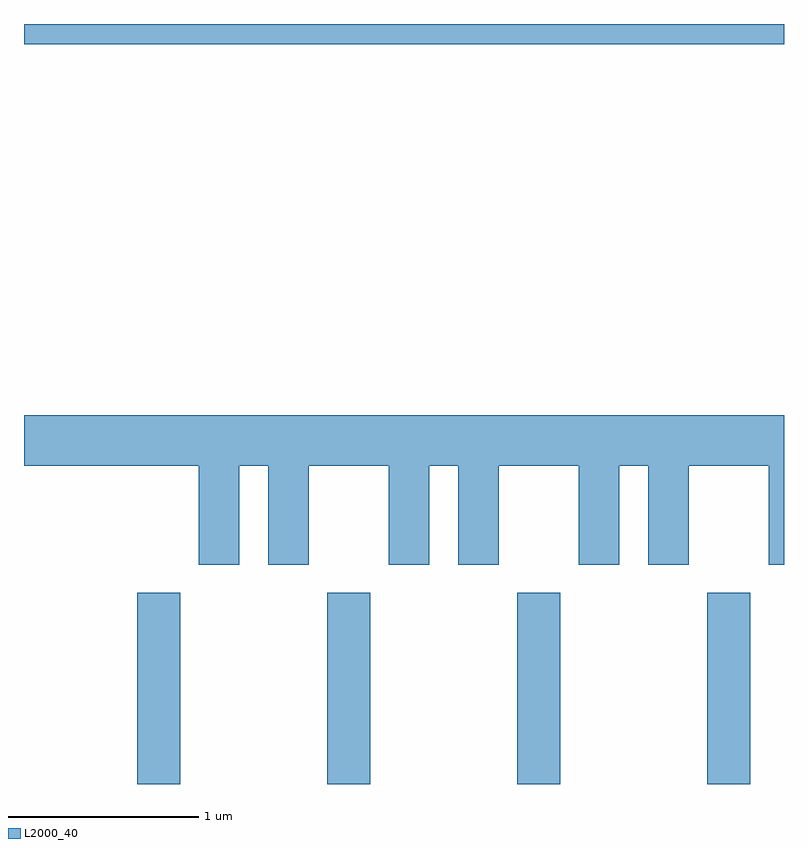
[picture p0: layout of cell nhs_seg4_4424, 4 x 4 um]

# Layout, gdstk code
import gdstk
lib = gdstk.Library(unit=1e-6, precision=1e-09)
def R(c, l, rs):  # rectangles x0, y0, x1, y1
    for r in rs: c.add(gdstk.rectangle(r[:2], r[2:], *l))
def A(c, l, x, y, w, h, nx, ny, dx, dy):  # array of equal rectangles
    R(c, l, [(x+i*dx, y+j*dy, x+i*dx+w, y+j*dy+h) for i in range(nx) for j in range(ny)])
def P(c, l, *ps):  # polygons
    for p in ps: c.add(gdstk.Polygon(p, *l))
L2000_40 = (2000, 40)

nhs_seg4_4424 = lib.new_cell('nhs_seg4_4424')
A(nhs_seg4_4424, L2000_40, 316.206, 1261.982, 0.228, 1.007, 4, 1, 1, 0)
R(nhs_seg4_4424, L2000_40, [(315.611,1265.876,319.611,1265.982)])
P(nhs_seg4_4424, L2000_40, [(316.744,1263.656),(316.896,1263.656),(316.896,1263.136),(317.109,1263.136),(317.109,1263.656),(317.531,1263.656),(317.531,1263.136),(317.744,1263.136),(317.744,1263.656),(317.896,1263.656),(317.896,1263.136),(318.109,1263.136),(318.109,1263.656),(318.531,1263.656),(318.531,1263.136),(318.744,1263.136),(318.744,1263.656),(318.896,1263.656),(318.896,1263.136),(319.109,1263.136),(319.109,1263.656),(319.531,1263.656),(319.531,1263.136),(319.611,1263.136),(319.611,1263.924),(315.611,1263.924),(315.611,1263.656),(316.531,1263.656),(316.531,1263.136),(316.744,1263.136)])

lib.write_gds('nhs_seg4_4424.gds')
